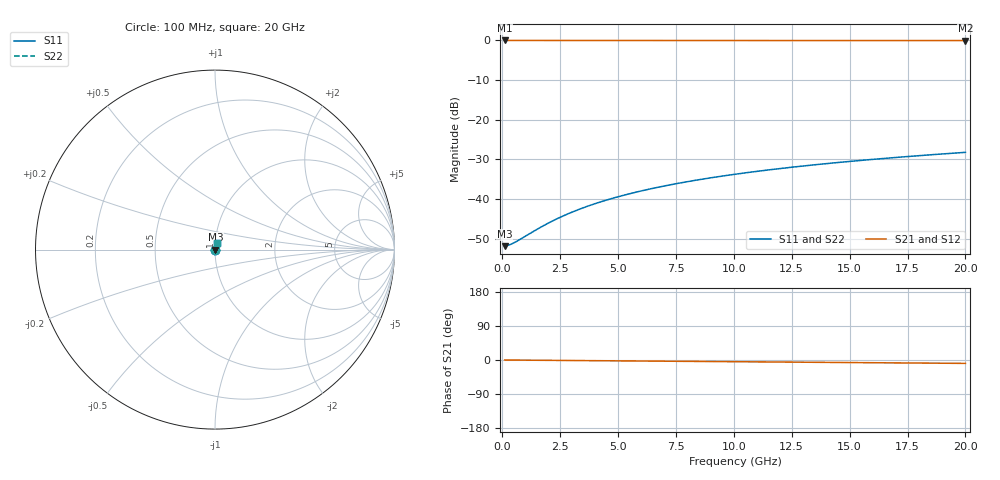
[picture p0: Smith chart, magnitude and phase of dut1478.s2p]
! Touchstone file exported from HFSS 2026.1.0
!  File:  C:/ffzhzh/LocalFiles/Ansys_Project_Files/temp_train_TSV_1478_1783198510_22436.aedt
!  Generated:  04:57:32 AM Jul  5, 2026
!  Design:  TSV
!  Project:  temp_train_TSV_1478_1783198510_22436
! Variables:
!  h_bsmrdl = 2um
!  h_ox = 20um
!  h_rdl = 5um
!  h_sub = 95.88um
!  h_tmrdl = 5um
!  h_tsv = 95.88um
!  h_via = 3um
!  l_bsmrdl = 300um
!  l_sub = 404.14um
!  l_tmrdl = 200um
!  m_sub = 200um
!  pitch = 12.19um
!  r_tsv = 2.07um
!  s_tmrdl = 10um
!  w_bsmrdl = 18um
!  w_sub = 500um
!  w_tmrdl = 12um
!  x_tsv_center1 = 206um
!  x_tsv_center2 = 524um
!  x_tsv_center3 = 736um
!  x_tsv_center4 = 1054um
!  x_tsv_center5 = 1266um
!  x_tsv_center6 = 1584um
# GHz S MA R 50.000000
! Terminal data exported
! Port[1] = TSV1_1_T1
! Port[2] = TSV1_1_T2
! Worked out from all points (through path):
!   200 points, 100 MHz to 20 GHz, reference 50 ohm
!   highest |S21| = -0.02 dB at 100 MHz (marker M1); lowest = -0.1 dB at 20 GHz (marker M2)
!   group delay of S21, straight-line fit = 1.24 ps
!   lowest |S11| = -51.8 dB at 100 MHz (marker M3), VSWR 1.01, Z = 50.3 + j0.0225 ohm
!   |S11| at or under -10 dB: start of sweep to end of sweep
!   |S22| runs from -51.8 to -28.2 dB; largest |S21 - S12| = 4.3e-15
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0.1  0.002558 5.0  0.9975 -0.0  0.9975 -0.0  0.002558 5.0
! Gamma 0 0 0 0
! Port Impedance 50 0 50 0
0.3  0.00265 14.5  0.9974 -0.1  0.9974 -0.1  0.00265 14.5
0.5  0.002815 22.9  0.9974 -0.2  0.9974 -0.2  0.002815 22.9
0.7  0.003031 30.0  0.9974 -0.3  0.9974 -0.3  0.003031 30.0
1.6  0.004333 50.5  0.9973 -0.7  0.9973 -0.7  0.004333 50.5
2  0.005012 55.9  0.9972 -0.9  0.9972 -0.9  0.005012 55.9
2.3  0.005545 59.0  0.9972 -1.0  0.9972 -1.0  0.005545 59.0
2.9  0.006653 63.6  0.9972 -1.3  0.9972 -1.3  0.006653 63.6
3.5  0.007796 66.8  0.9971 -1.6  0.9971 -1.6  0.007796 66.8
4.2  0.009154 69.4  0.997 -1.9  0.997 -1.9  0.009154 69.4
5  0.01072 71.3  0.9969 -2.3  0.9969 -2.3  0.01072 71.3
5.9  0.0125 72.7  0.9968 -2.7  0.9968 -2.7  0.0125 72.7
6.8  0.01427 73.6  0.9966 -3.1  0.9966 -3.1  0.01427 73.6
7.6  0.01584 74.1  0.9965 -3.4  0.9965 -3.4  0.01584 74.1
8.4  0.0174 74.5  0.9963 -3.8  0.9963 -3.8  0.0174 74.5
9.2  0.01896 74.6  0.9961 -4.2  0.9961 -4.2  0.01896 74.6
10.1  0.02069 74.7  0.9959 -4.6  0.9959 -4.6  0.02069 74.7
11.7  0.02374 74.7  0.9956 -5.3  0.9956 -5.3  0.02374 74.7
13.4  0.02693 74.4  0.9952 -6.0  0.9952 -6.0  0.02693 74.4
15  0.02988 74.1  0.9948 -6.7  0.9948 -6.7  0.02988 74.1
16.7  0.03298 73.6  0.9944 -7.5  0.9944 -7.5  0.03298 73.6
20  0.03887 72.6  0.9936 -8.9  0.9936 -8.9  0.03887 72.6
